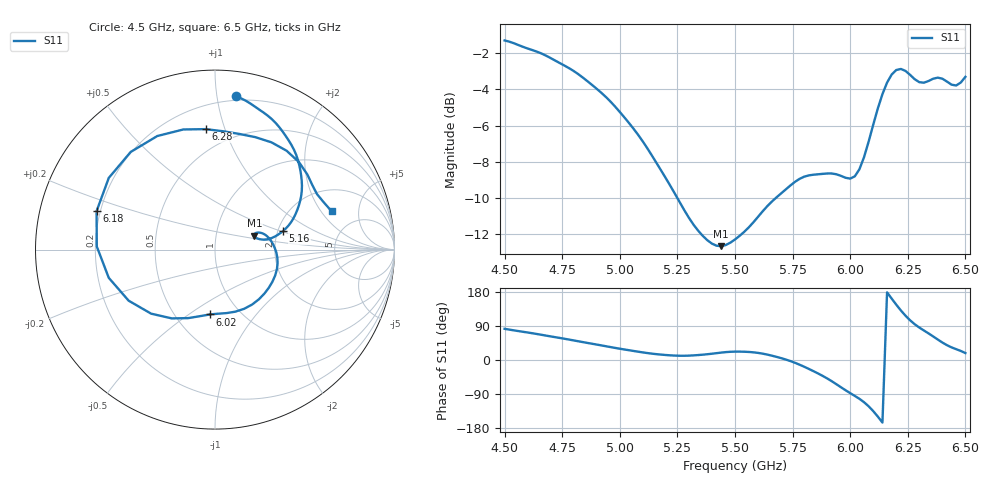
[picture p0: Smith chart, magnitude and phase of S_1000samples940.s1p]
! TOUCHSTONE file generated by CST MICROWAVE STUDIO
! Date and time: Sat Oct 29 21:09:58 2022
! Project name: L.cst
! Parameters = {Di=1.27; Epsilon_r=1.56; InnerDiameter=1.27; Length=2; Lf=10; Lg=60; OuterConductorThickness=0.2921; OuterDiameter=3.6; Wf=3; Wp=41.2; de=1.5; df=6.8; g=0.8; gx=0.967896; gy=4.28566; h=2.34; hf=1.524; px=12.2777; py=8.05825; w=9.7; wx=11.3098; wy=3.77258}
! Header version: 2018
! Port assignment regex: !\s*Touchstone port\s*([0-9]+)\s*=\s*(CST MWS port|CST DS port)\s*([0-9]+|Zmin|Zmax)\s*\(\"(.*)\"\)(\s*mode\s*([0-9]+))?.*
! Touchstone port assignment:
! Touchstone port 1 = CST MWS port 1 ("")
# GHz S DB R 50
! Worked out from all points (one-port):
!   101 points, 4.5 GHz to 6.5 GHz, reference 50 ohm
!   lowest |S11| = -12.7 dB at 5.44 GHz (marker M1), VSWR 1.61, Z = 76.8 + j12.6 ohm
!   |S11| at or under -10 dB: 5.25 GHz to 5.678 GHz (428 MHz wide, 7.83 % of centre)
!   S11 on the Smith chart (normalised r, x): 4.5 GHz: 0.17, +1.13; 5.16 GHz: 2.14, +0.53; 6.02 GHz: 0.73, -0.61; 6.18 GHz: 0.19, +0.15; 6.28 GHz: 0.35, +0.86; 6.5 GHz: 3.16, +2.53
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4.5  -1.29 82.3
4.76  -2.68 56.1
4.88  -3.76 42.9
5  -5.25 29.8
5.16  -8.08 15.4
5.26  -10.24 11.2
5.44  -12.67 19.5
5.5  -12.30 22.1
5.64  -10.46 14.3
5.76  -9.12 -7.3
5.88  -8.67 -41.8
5.94  -8.69 -63.9
6  -8.93 -87.5
6.02  -8.81 -94.8
6.06  -7.75 -111.3
6.1  -5.95 -134.9
6.12  -5.05 -149.4
6.14  -4.26 -165.1
6.16  -3.63 178.5
6.18  -3.18 162.0
6.2  -2.93 146.0
6.22  -2.87 130.8
6.24  -2.98 116.9
6.26  -3.20 104.8
6.28  -3.44 94.4
6.36  -3.41 62.2
6.4  -3.41 46.1
6.5  -3.30 18.2
